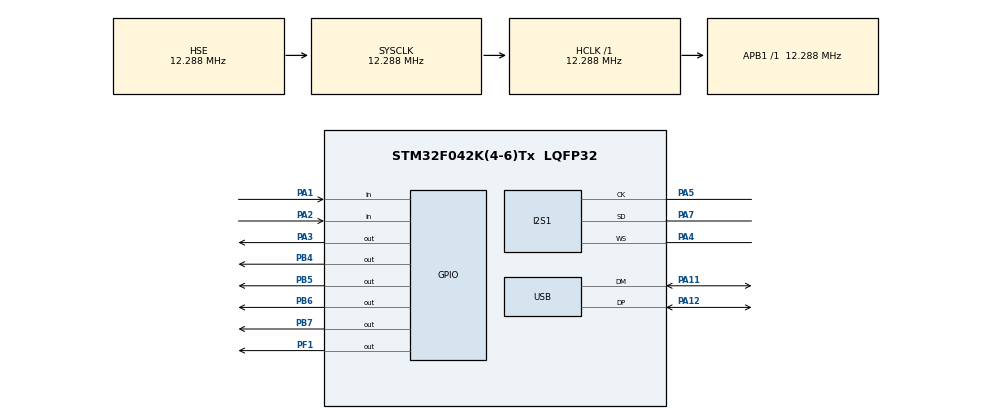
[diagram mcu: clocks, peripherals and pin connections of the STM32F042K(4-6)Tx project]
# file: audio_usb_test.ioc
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Dma.Request0=SPI1_RX
Dma.SPI1_RX.0.Direction=DMA_PERIPH_TO_MEMORY
Dma.SPI1_RX.0.Instance=DMA1_Channel2
Dma.SPI1_RX.0.MemDataAlignment=DMA_MDATAALIGN_HALFWORD
Dma.SPI1_RX.0.MemInc=DMA_MINC_ENABLE
Dma.SPI1_RX.0.Mode=DMA_CIRCULAR
Dma.SPI1_RX.0.PeriphDataAlignment=DMA_PDATAALIGN_HALFWORD
Dma.SPI1_RX.0.PeriphInc=DMA_PINC_DISABLE
Dma.SPI1_RX.0.Priority=DMA_PRIORITY_HIGH
I2S1.AudioFreq=I2S_AUDIOFREQ_48K
I2S1.DataFormat=I2S_DATAFORMAT_24B
I2S1.ErrorAudioFreq=0.0 %
I2S1.FullDuplexMode=I2S_FULLDUPLEXMODE_DISABLE
I2S1.Instance=SPI$Index
I2S1.Mode=I2S_MODE_MASTER_RX
I2S1.RealAudioFreq=48.0 KHz
I2S1.VirtualMode=I2S_MODE_MASTER
Mcu.Family=STM32F0
Mcu.Name=STM32F042K(4-6)Tx
Mcu.Package=LQFP32
NVIC.DMA1_Channel2_3_IRQn=true\:0\:0\:false\:false\:true\:false\:true\:true
PA1.Signal=GPIO_Input
PA11.Mode=Device
PA11.Signal=USB_DM
PA12.Mode=Device
PA12.Signal=USB_DP
PA13.Mode=Serial_Wire
PA13.Signal=SYS_SWDIO
PA14.Mode=Serial_Wire
PA14.Signal=SYS_SWCLK
PA2.Signal=GPIO_Input
PA3.Signal=GPIO_Output
PA4.Mode=Half_Duplex_Master
PA4.Signal=I2S1_WS
PA5.Mode=Half_Duplex_Master
PA5.Signal=I2S1_CK
PA7.Mode=Half_Duplex_Master
PA7.Signal=I2S1_SD
PB4.Signal=GPIO_Output
PB5.Signal=GPIO_Output
PB6.Signal=GPIO_Output
PB7.Signal=GPIO_Output
PF0-OSC_IN.Mode=HSE-External-Clock-Source
PF0-OSC_IN.Signal=RCC_OSC_IN
PF1-OSC_OUT.Signal=GPIO_Output
ProjectManager.HeapSize=0x200
ProjectManager.StackSize=0x400
ProjectManager.TargetToolchain=STM32CubeIDE
RCC.AHBFreq_Value=12288000
RCC.APB1Freq_Value=12288000
RCC.APB1TimFreq_Value=12288000
RCC.HCLKFreq_Value=12288000
RCC.HSE_VALUE=12288000
RCC.PLLSourceVirtual=RCC_PLLSOURCE_HSE
RCC.SYSCLKFreq_VALUE=12288000
RCC.SYSCLKSource=RCC_SYSCLKSOURCE_HSE
board=custom

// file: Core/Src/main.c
/* USER CODE BEGIN Header */
/**
  ******************************************************************************
  * @file           : main.c
  * @brief          : Main program body
  ******************************************************************************
  * @attention
  *
  * Copyright (c) 2022 STMicroelectronics.
  * All rights reserved.
  *
  * This software is licensed under terms that can be found in the LICENSE file
  * in the root directory of this software component.
  * If no LICENSE file comes with this software, it is provided AS-IS.
  *
  ******************************************************************************
  */
/* USER CODE END Header */
#include "main.h"

/* USER CODE BEGIN Includes */
#include "tusb.h"
//#include <stdio.h>
/* USER CODE END Includes */

 I2S_HandleTypeDef hi2s1;
DMA_HandleTypeDef hdma_spi1_rx;

PCD_HandleTypeDef hpcd_USB_FS;

void SystemClock_Config(void);
static void MX_GPIO_Init(void);
static void MX_I2S1_Init(void);
static void MX_DMA_Init(void);
static void MX_USB_PCD_Init(void);

/* USER CODE BEGIN 0 */

//--------------------------------------------------------------------+
// MACRO CONSTANT TYPEDEF PROTYPES
//--------------------------------------------------------------------+

#ifndef AUDIO_SAMPLE_RATE
#define AUDIO_SAMPLE_RATE   48000
#endif

/* Blink pattern
 * - 250 ms  : device not mounted
 * - 1000 ms : device mounted
 * - 2500 ms : device is suspended
 */
enum  {
  BLINK_NOT_MOUNTED = 250,
  BLINK_MOUNTED = 1000,
  BLINK_SUSPENDED = 2500,
};

static uint32_t blink_interval_ms = BLINK_NOT_MOUNTED;

static uint16_t one_kHz_sine[] = { 0xaabb, 0xccdd, 0xeeff};

//I2S buffer pointers
#define NUM_DMA_TRANSACTIONS 49 * 4 * 2 //48 samples per ms (and one extra for tolerance), 4 16 bit transactions per sample, 2ms total
uint32_t prev_DMA_finish, curr_DMA_finish;
uint16_t i2s_buffer[NUM_DMA_TRANSACTIONS]; //enough to hold 2ms of transactions

//length in number of bytes
void swap_endian_i2s(uint16_t* start_addr, uint32_t length){
	uint16_t* stop = start_addr + (length >> 1);
	while(start_addr < stop) {
		//*start_addr = *start_addr << 8 | *start_addr >> 8;
		uint16_t temp = *(start_addr + 1);
		*(start_addr + 1) = *start_addr;
		*start_addr = temp;
		start_addr += 2;
	}
}

uint8_t header_sel = 0;
void copy_DMA_samples(DMA_HandleTypeDef* dma) {
	HAL_GPIO_WritePin(GPIOB, GPIO_PIN_6, GPIO_PIN_SET);
	uint16_t data_len;
	prev_DMA_finish = curr_DMA_finish;
	//round down to the nearest full sample
	curr_DMA_finish = (NUM_DMA_TRANSACTIONS - dma->Instance->CNDTR) & 0xFFFFFFFC;
	header_sel = ~header_sel;

	if(prev_DMA_finish < curr_DMA_finish) {
		data_len = (curr_DMA_finish - prev_DMA_finish) << 1;
		swap_endian_i2s(&i2s_buffer[prev_DMA_finish], data_len);
		tud_audio_write_support_ff(0, &i2s_buffer[prev_DMA_finish], data_len);
	}
	else {
		//the DMA looped over the bridge of the circular buffer, so two separate writes are necessary
		data_len = (NUM_DMA_TRANSACTIONS - prev_DMA_finish) << 1;
		swap_endian_i2s(&i2s_buffer[prev_DMA_finish], data_len);
		tud_audio_write_support_ff(0, &i2s_buffer[prev_DMA_finish], data_len);
		data_len = curr_DMA_finish << 1;
		swap_endian_i2s(&i2s_buffer[0], data_len);
		tud_audio_write_support_ff(0, &i2s_buffer[0], data_len);
	}
	HAL_GPIO_WritePin(GPIOB, GPIO_PIN_6, GPIO_PIN_RESET);
}

// Audio controls
// Current states
bool mute[CFG_TUD_AUDIO_FUNC_1_N_CHANNELS_TX + 1]; 				          // +1 for master channel 0
uint16_t volume[CFG_TUD_AUDIO_FUNC_1_N_CHANNELS_TX + 1]; 					// +1 for master channel 0
uint32_t sampFreq;
uint8_t clkValid;

// Range states
audio_control_range_2_n_t(1) volumeRng[CFG_TUD_AUDIO_FUNC_1_N_CHANNELS_TX+1]; 			// Volume range state
audio_control_range_4_n_t(1) sampleFreqRng; 						// Sample frequency range state
/*
int __io_putchar(int ch) {
	HAL_UART_Transmit(&huart2, (uint8_t*)&ch, 1, 0xffff);
	return 0;
}
*/

//--------------------------------------------------------------------+
// Application Callback API Implementations
//--------------------------------------------------------------------+

// Invoked when audio class specific set request received for an EP
bool tud_audio_set_req_ep_cb(uint8_t rhport, tusb_control_request_t const * p_request, uint8_t *pBuff)
{
  (void) rhport;
  (void) pBuff;

  // We do not support any set range requests here, only current value requests
  TU_VERIFY(p_request->bRequest == AUDIO_CS_REQ_CUR);

  // Page 91 in UAC2 specification
  uint8_t channelNum = TU_U16_LOW(p_request->wValue);
  uint8_t ctrlSel = TU_U16_HIGH(p_request->wValue);
  uint8_t ep = TU_U16_LOW(p_request->wIndex);

  (void) channelNum; (void) ctrlSel; (void) ep;

  return false; 	// Yet not implemented
}

// Invoked when audio class specific set request received for an interface
bool tud_audio_set_req_itf_cb(uint8_t rhport, tusb_control_request_t const * p_request, uint8_t *pBuff)
{
  (void) rhport;
  (void) pBuff;

  // We do not support any set range requests here, only current value requests
  TU_VERIFY(p_request->bRequest == AUDIO_CS_REQ_CUR);

  // Page 91 in UAC2 specification
  uint8_t channelNum = TU_U16_LOW(p_request->wValue);
  uint8_t ctrlSel = TU_U16_HIGH(p_request->wValue);
  uint8_t itf = TU_U16_LOW(p_request->wIndex);

  (void) channelNum; (void) ctrlSel; (void) itf;

  return false; 	// Yet not implemented
}

// Invoked when audio class specific set request received for an entity
bool tud_audio_set_req_entity_cb(uint8_t rhport, tusb_control_request_t const * p_request, uint8_t *pBuff)
{
  (void) rhport;

  // Page 91 in UAC2 specification
  uint8_t channelNum = TU_U16_LOW(p_request->wValue);
  uint8_t ctrlSel = TU_U16_HIGH(p_request->wValue);
  uint8_t itf = TU_U16_LOW(p_request->wIndex);
  uint8_t entityID = TU_U16_HIGH(p_request->wIndex);

  (void) itf;

  // We do not support any set range requests here, only current value requests
  TU_VERIFY(p_request->bRequest == AUDIO_CS_REQ_CUR);

  // If request is for our feature unit
  if ( entityID == 2 )
  {
    switch ( ctrlSel )
    {
      case AUDIO_FU_CTRL_MUTE:
        // Request uses format layout 1
        TU_VERIFY(p_request->wLength == sizeof(audio_control_cur_1_t));

        mute[channelNum] = ((audio_control_cur_1_t*) pBuff)->bCur;

        TU_LOG2("    Set Mute: %d of channel: %u\r\n", mute[channelNum], channelNum);
      return true;

      case AUDIO_FU_CTRL_VOLUME:
        // Request uses format layout 2
        TU_VERIFY(p_request->wLength == sizeof(audio_control_cur_2_t));

        volume[channelNum] = ((audio_control_cur_2_t*) pBuff)->bCur;

        TU_LOG2("    Set Volume: %d dB of channel: %u\r\n", volume[channelNum], channelNum);
      return true;

        // Unknown/Unsupported control
      default:
        TU_BREAKPOINT();
      return false;
    }
  }
  return false;    // Yet not implemented
}

// Invoked when audio class specific get request received for an EP
bool tud_audio_get_req_ep_cb(uint8_t rhport, tusb_control_request_t const * p_request)
{
  (void) rhport;

  // Page 91 in UAC2 specification
  uint8_t channelNum = TU_U16_LOW(p_request->wValue);
  uint8_t ctrlSel = TU_U16_HIGH(p_request->wValue);
  uint8_t ep = TU_U16_LOW(p_request->wIndex);

  (void) channelNum; (void) ctrlSel; (void) ep;

  //	return tud_control_xfer(rhport, p_request, &tmp, 1);

  return false; 	// Yet not implemented
}

// Invoked when audio class specific get request received for an interface
bool tud_audio_get_req_itf_cb(uint8_t rhport, tusb_control_request_t const * p_request)
{
  (void) rhport;

  // Page 91 in UAC2 specification
  uint8_t channelNum = TU_U16_LOW(p_request->wValue);
  uint8_t ctrlSel = TU_U16_HIGH(p_request->wValue);
  uint8_t itf = TU_U16_LOW(p_request->wIndex);

  (void) channelNum; (void) ctrlSel; (void) itf;

  return false; 	// Yet not implemented
}

// Invoked when audio class specific get request received for an entity
bool tud_audio_get_req_entity_cb(uint8_t rhport, tusb_control_request_t const * p_request)
{
  (void) rhport;

  // Page 91 in UAC2 specification
  uint8_t channelNum = TU_U16_LOW(p_request->wValue);
  uint8_t ctrlSel = TU_U16_HIGH(p_request->wValue);
  // uint8_t itf = TU_U16_LOW(p_request->wIndex); 			// Since we have only one audio function implemented, we do not need the itf value
  uint8_t entityID = TU_U16_HIGH(p_request->wIndex);

  // Input terminal (Microphone input)
  if (entityID == 1)
  {
    switch ( ctrlSel )
    {
      case AUDIO_TE_CTRL_CONNECTOR:
      {
        // The terminal connector control only has a get request with only the CUR attribute.
        audio_desc_channel_cluster_t ret;

        // Those are dummy values for now
        ret.bNrChannels = 1;
        ret.bmChannelConfig = 0;
        ret.iChannelNames = 0;

        TU_LOG2("    Get terminal connector\r\n");

        return tud_audio_buffer_and_schedule_control_xfer(rhport, p_request, (void*) &ret, sizeof(ret));
      }
      break;

        // Unknown/Unsupported control selector
      default:
        TU_BREAKPOINT();
        return false;
    }
  }

  // Feature unit
  if (entityID == 2)
  {
    switch ( ctrlSel )
    {
      case AUDIO_FU_CTRL_MUTE:
        // Audio control mute cur parameter block consists of only one byte - we thus can send it right away
        // There does not exist a range parameter block for mute
        TU_LOG2("    Get Mute of channel: %u\r\n", channelNum);
        return tud_control_xfer(rhport, p_request, &mute[channelNum], 1);

      case AUDIO_FU_CTRL_VOLUME:
        switch ( p_request->bRequest )
        {
          case AUDIO_CS_REQ_CUR:
            TU_LOG2("    Get Volume of channel: %u\r\n", channelNum);
            return tud_control_xfer(rhport, p_request, &volume[channelNum], sizeof(volume[channelNum]));

          case AUDIO_CS_REQ_RANGE:
            TU_LOG2("    Get Volume range of channel: %u\r\n", channelNum);

            // Copy values - only for testing - better is version below
            audio_control_range_2_n_t(1)
            ret;

            ret.wNumSubRanges = 1;
            ret.subrange[0].bMin = -90;           // -90 dB
            ret.subrange[0].bMax = 90;		// +90 dB
            ret.subrange[0].bRes = 1; 		// 1 dB steps

            return tud_audio_buffer_and_schedule_control_xfer(rhport, p_request, (void*) &ret, sizeof(ret));

            // Unknown/Unsupported control
          default:
            TU_BREAKPOINT();
            return false;
        }
      break;

        // Unknown/Unsupported control
      default:
        TU_BREAKPOINT();
        return false;
    }
  }

  // Clock Source unit
  if ( entityID == 4 )
  {
    switch ( ctrlSel )
    {
      case AUDIO_CS_CTRL_SAM_FREQ:
        // channelNum is always zero in this case
        switch ( p_request->bRequest )
        {
          case AUDIO_CS_REQ_CUR:
            TU_LOG2("    Get Sample Freq.\r\n");
            return tud_control_xfer(rhport, p_request, &sampFreq, sizeof(sampFreq));

          case AUDIO_CS_REQ_RANGE:
            TU_LOG2("    Get Sample Freq. range\r\n");
            return tud_control_xfer(rhport, p_request, &sampleFreqRng, sizeof(sampleFreqRng));

           // Unknown/Unsupported control
          default:
            TU_BREAKPOINT();
            return false;
        }
      break;

      case AUDIO_CS_CTRL_CLK_VALID:
        // Only cur attribute exists for this request
        TU_LOG2("    Get Sample Freq. valid\r\n");
        return tud_control_xfer(rhport, p_request, &clkValid, sizeof(clkValid));

      // Unknown/Unsupported control
      default:
        TU_BREAKPOINT();
        return false;
    }
  }

  TU_LOG2("  Unsupported entity: %d\r\n", entityID);
  return false; 	// Yet not implemented
}

bool tud_audio_tx_done_pre_load_cb(uint8_t rhport, uint8_t itf, uint8_t ep_in, uint8_t cur_alt_setting)
{
  (void) rhport;
  (void) itf;
  (void) ep_in;
  (void) cur_alt_setting;
  /*
  for (uint8_t cnt=0; cnt < CFG_TUD_AUDIO_FUNC_1_N_TX_SUPP_SW_FIFO; cnt++)
  {
    tud_audio_write_support_ff(cnt, i2s_dummy_buffer[cnt], 47 * 2);
  }
  */
  copy_DMA_samples(&hdma_spi1_rx);
  return true;
}

bool tud_audio_tx_done_post_load_cb(uint8_t rhport, uint16_t n_bytes_copied, uint8_t itf, uint8_t ep_in, uint8_t cur_alt_setting)
{
  (void) rhport;
  (void) n_bytes_copied;
  (void) itf;
  (void) ep_in;
  (void) cur_alt_setting;
  /*
  static uint32_t sine_index;

  // Generate dummy data
  for (uint16_t cnt = 0; cnt < CFG_TUD_AUDIO_FUNC_1_N_TX_SUPP_SW_FIFO; cnt++)
  {
    uint16_t * p_buff = i2s_dummy_buffer[cnt];              // 2 bytes per sample
    for (uint16_t cnt2 = 0; cnt2 < AUDIO_SAMPLE_RATE/1000; cnt2++)
    {
      for (uint8_t cnt3 = 0; cnt3 < CFG_TUD_AUDIO_FUNC_1_CHANNEL_PER_FIFO_TX; cnt3++)
      {
        *p_buff++ = one_kHz_sine[sine_index++];
        if(sine_index >= 48)
        	sine_index = 0;
      }
    }
  }
  */
  return true;
}

bool tud_audio_set_itf_close_EP_cb(uint8_t rhport, tusb_control_request_t const * p_request)
{
  (void) rhport;
  (void) p_request;

  return true;
}

/* USER CODE END 0 */

int main(void)
{

  /* MCU Configuration--------------------------------------------------------*/

  /* Reset of all peripherals, Initializes the Flash interface and the Systick. */
  HAL_Init();

  /* Configure the system clock */

  /* USER CODE BEGIN SysInit */
  //MUST MOVE SysClk Config after DMA, but cubeMX will mess this order up every time code is regen

  /* USER CODE END SysInit */

  /* Initialize all configured peripherals */
  MX_DMA_Init();
  SystemClock_Config();
  MX_GPIO_Init();
  MX_I2S1_Init();
  MX_USB_PCD_Init();
  /* USER CODE BEGIN 2 */

  tusb_init();
  printf("Test123\n\r");

  // Init values
  sampFreq = AUDIO_SAMPLE_RATE;
  clkValid = 1;

  sampleFreqRng.wNumSubRanges = 1;
  sampleFreqRng.subrange[0].bMin = AUDIO_SAMPLE_RATE;
  sampleFreqRng.subrange[0].bMax = AUDIO_SAMPLE_RATE;
  sampleFreqRng.subrange[0].bRes = 0;

  HAL_GPIO_WritePin(GPIOA, GPIO_PIN_3, GPIO_PIN_SET);

  HAL_I2S_Receive_DMA(&hi2s1, &i2s_buffer[0], NUM_DMA_TRANSACTIONS / 2);
  //HAL_DMA_Start(&hdma_spi1_rx, (uint32_t)&(hi2s1.Instance->DR), (uint32_t)&i2s_buffer[0], NUM_DMA_TRANSACTIONS);
  /* USER CODE END 2 */

  /* Infinite loop */
  while (1)
  {

    /* USER CODE BEGIN 3 */
	tud_task();
	GPIO_PinState l_clip = HAL_GPIO_ReadPin(GPIOA, GPIO_PIN_1);
	//HAL_GPIO_WritePin(GPIOF, GPIO_PIN_0, l_clip);

	GPIO_PinState r_clip = HAL_GPIO_ReadPin(GPIOA, GPIO_PIN_2);
	HAL_GPIO_WritePin(GPIOF, GPIO_PIN_1, r_clip);
	//audio_task();
  }
  /* USER CODE END 3 */
}

void SystemClock_Config(void)
{
  RCC_OscInitTypeDef RCC_OscInitStruct = {0};
  RCC_ClkInitTypeDef RCC_ClkInitStruct = {0};
  RCC_PeriphCLKInitTypeDef PeriphClkInit = {0};

  /** Initializes the RCC Oscillators according to the specified parameters
  * in the RCC_OscInitTypeDef structure.
  */
  RCC_OscInitStruct.OscillatorType = RCC_OSCILLATORTYPE_HSI48|RCC_OSCILLATORTYPE_HSE;
  RCC_OscInitStruct.HSEState = RCC_HSE_BYPASS;
  RCC_OscInitStruct.HSI48State = RCC_HSI48_ON;
  RCC_OscInitStruct.PLL.PLLState = RCC_PLL_NONE;
  if (HAL_RCC_OscConfig(&RCC_OscInitStruct) != HAL_OK)
  {
    Error_Handler();
  }

  /** Initializes the CPU, AHB and APB buses clocks
  */
  RCC_ClkInitStruct.ClockType = RCC_CLOCKTYPE_HCLK|RCC_CLOCKTYPE_SYSCLK
                              |RCC_CLOCKTYPE_PCLK1;
  RCC_ClkInitStruct.SYSCLKSource = RCC_SYSCLKSOURCE_HSE;
  RCC_ClkInitStruct.AHBCLKDivider = RCC_SYSCLK_DIV1;
  RCC_ClkInitStruct.APB1CLKDivider = RCC_HCLK_DIV1;

  if (HAL_RCC_ClockConfig(&RCC_ClkInitStruct, FLASH_LATENCY_0) != HAL_OK)
  {
    Error_Handler();
  }
  PeriphClkInit.PeriphClockSelection = RCC_PERIPHCLK_USB;
  PeriphClkInit.UsbClockSelection = RCC_USBCLKSOURCE_HSI48;

  if (HAL_RCCEx_PeriphCLKConfig(&PeriphClkInit) != HAL_OK)
  {
    Error_Handler();
  }
}

static void MX_I2S1_Init(void)
{

  hi2s1.Instance = SPI1;
  hi2s1.Init.Mode = I2S_MODE_MASTER_RX;
  hi2s1.Init.Standard = I2S_STANDARD_PHILIPS;
  hi2s1.Init.DataFormat = I2S_DATAFORMAT_24B;
  hi2s1.Init.MCLKOutput = I2S_MCLKOUTPUT_DISABLE;
  hi2s1.Init.AudioFreq = I2S_AUDIOFREQ_48K;
  hi2s1.Init.CPOL = I2S_CPOL_LOW;
  if (HAL_I2S_Init(&hi2s1) != HAL_OK)
  {
    Error_Handler();
  }

}

static void MX_USB_PCD_Init(void)
{

  hpcd_USB_FS.Instance = USB;
  hpcd_USB_FS.Init.dev_endpoints = 8;
  hpcd_USB_FS.Init.speed = PCD_SPEED_FULL;
  hpcd_USB_FS.Init.phy_itface = PCD_PHY_EMBEDDED;
  hpcd_USB_FS.Init.low_power_enable = DISABLE;
  hpcd_USB_FS.Init.lpm_enable = DISABLE;
  hpcd_USB_FS.Init.battery_charging_enable = DISABLE;
  if (HAL_PCD_Init(&hpcd_USB_FS) != HAL_OK)
  {
    Error_Handler();
  }

}

static void MX_DMA_Init(void)
{

  /* DMA controller clock enable */
  __HAL_RCC_DMA1_CLK_ENABLE();

  /* DMA interrupt init */
  /* DMA1_Channel2_3_IRQn interrupt configuration */
  HAL_NVIC_SetPriority(DMA1_Channel2_3_IRQn, 0, 0);
  HAL_NVIC_EnableIRQ(DMA1_Channel2_3_IRQn);

}

static void MX_GPIO_Init(void)
{
  GPIO_InitTypeDef GPIO_InitStruct = {0};

  /* GPIO Ports Clock Enable */
  __HAL_RCC_GPIOF_CLK_ENABLE();
  __HAL_RCC_GPIOA_CLK_ENABLE();
  __HAL_RCC_GPIOB_CLK_ENABLE();

  /*Configure GPIO pin Output Level */
  HAL_GPIO_WritePin(GPIOF, GPIO_PIN_1, GPIO_PIN_RESET);

  /*Configure GPIO pin Output Level */
  HAL_GPIO_WritePin(GPIOA, GPIO_PIN_3, GPIO_PIN_RESET);

  /*Configure GPIO pin Output Level */
  HAL_GPIO_WritePin(GPIOB, GPIO_PIN_4|GPIO_PIN_5|GPIO_PIN_6|GPIO_PIN_7, GPIO_PIN_RESET);

  /*Configure GPIO pin : PF1 */
  GPIO_InitStruct.Pin = GPIO_PIN_1;
  GPIO_InitStruct.Mode = GPIO_MODE_OUTPUT_PP;
  GPIO_InitStruct.Pull = GPIO_NOPULL;
  GPIO_InitStruct.Speed = GPIO_SPEED_FREQ_LOW;
  HAL_GPIO_Init(GPIOF, &GPIO_InitStruct);

  /*Configure GPIO pins : PA1 PA2 */
  GPIO_InitStruct.Pin = GPIO_PIN_1|GPIO_PIN_2;
  GPIO_InitStruct.Mode = GPIO_MODE_INPUT;
  GPIO_InitStruct.Pull = GPIO_NOPULL;
  HAL_GPIO_Init(GPIOA, &GPIO_InitStruct);

  /*Configure GPIO pin : PA3 */
  GPIO_InitStruct.Pin = GPIO_PIN_3;
  GPIO_InitStruct.Mode = GPIO_MODE_OUTPUT_PP;
  GPIO_InitStruct.Pull = GPIO_NOPULL;
  GPIO_InitStruct.Speed = GPIO_SPEED_FREQ_LOW;
  HAL_GPIO_Init(GPIOA, &GPIO_InitStruct);

  /*Configure GPIO pins : PB4 PB5 PB6 PB7 */
  GPIO_InitStruct.Pin = GPIO_PIN_4|GPIO_PIN_5|GPIO_PIN_6|GPIO_PIN_7;
  GPIO_InitStruct.Mode = GPIO_MODE_OUTPUT_PP;
  GPIO_InitStruct.Pull = GPIO_NOPULL;
  GPIO_InitStruct.Speed = GPIO_SPEED_FREQ_LOW;
  HAL_GPIO_Init(GPIOB, &GPIO_InitStruct);

}

void Error_Handler(void)
{
  __disable_irq();
  while (1)
  {
  }
}
